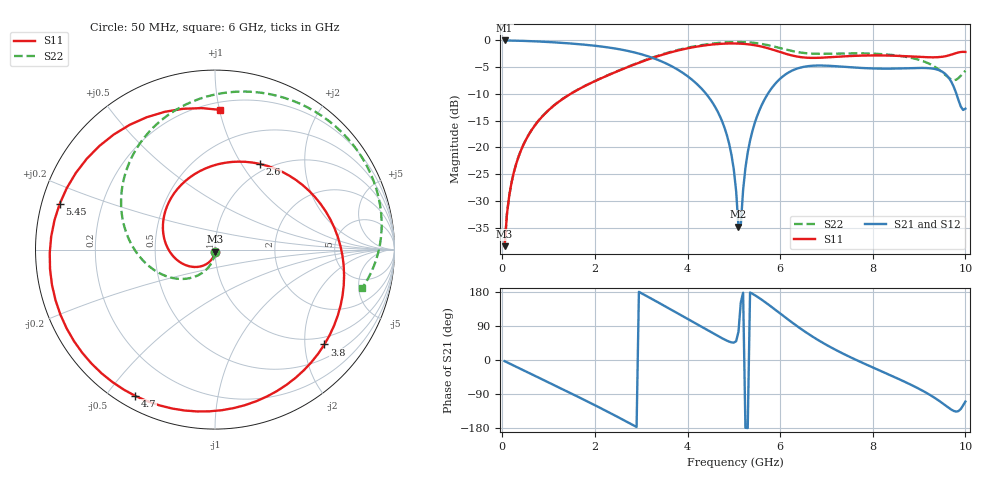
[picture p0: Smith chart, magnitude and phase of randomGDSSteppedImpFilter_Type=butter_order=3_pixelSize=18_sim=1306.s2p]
! freq	dB(S11)	phase(S11)	dB(S12)	phase(S12)
!  dB(S21)	phase(S21)	dB(S22)	phase(S22)
!S-par simulation data
#  GHz  S  DB  R 50
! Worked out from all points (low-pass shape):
!   200 points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, 50 MHz to 10 GHz, reference 50 ohm
!   highest |S21| = -0.01 dB at 50 MHz (marker M1); lowest = -34.8 dB at 5.1 GHz (marker M2)
!   |S21| within 3 dB of the highest: start of sweep to 3.16 GHz
!   lowest |S11| = -38.5 dB at 50 MHz (marker M3), VSWR 1.02, Z = 49.9 - j1.19 ohm
!   |S11| at or under -10 dB: start of sweep to 1.473 GHz
!   |S22| runs from -38.4 to -0.3 dB; largest |S21 - S12| = 0
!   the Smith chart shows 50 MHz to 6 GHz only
!   S11 on the Smith chart (normalised r, x): 50 MHz: 1.00, -0.02; 2.6 GHz: 0.90, +1.21; 3.8 GHz: 0.81, -2.45; 4.7 GHz: 0.05, -0.59; 5.45 GHz: 0.05, +0.14; 6 GHz: 0.25, +1.01
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0.05  -38.45 -93.1  -0.01 -3.0  -0.01 -3.0  -38.45 -91.6
0.2  -26.55 -105.1  -0.03 -11.9  -0.03 -11.9  -26.53 -98.8
0.5  -18.74 -128.0  -0.10 -29.7  -0.10 -29.7  -18.71 -112.5
1.15  -11.92 -177.8  -0.38 -68.2  -0.38 -68.2  -11.90 -140.0
1.75  -8.67 134.2  -0.78 -104.1  -0.78 -104.1  -8.64 -164.0
2.6  -5.36 62.2  -1.77 -157.2  -1.77 -157.2  -5.32 161.7
3.4  -2.83 -6.9  -3.78 149.6  -3.78 149.6  -2.75 124.4
3.8  -1.86 -40.9  -5.52 122.3  -5.52 122.3  -1.77 103.7
4.3  -1.02 -83.3  -8.98 87.8  -8.98 87.8  -0.88 76.4
4.7  -0.65 -118.5  -14.18 60.4  -14.18 60.4  -0.45 54.2
5.05  -0.58 -152.1  -28.23 49.7  -28.23 49.7  -0.30 34.5
5.1  -0.59 -157.2  -34.79 74.6  -34.79 74.6  -0.30 31.7
5.45  -0.90 163.6  -15.48 171.4  -15.48 171.4  -0.47 12.3
6  -2.17 87.8  -7.16 122.8  -7.16 122.8  -1.44 -14.7
6.35  -2.99 34.2  -5.31 90.7  -5.31 90.7  -2.14 -27.3
6.7  -3.26 -14.9  -4.73 61.7  -4.73 61.7  -2.47 -37.9
7.4  -2.97 -87.1  -4.94 14.3  -4.94 14.3  -2.43 -61.2
8.35  -2.83 -152.9  -5.28 -38.6  -5.28 -38.6  -2.66 -101.0
8.9  -3.03 175.2  -5.16 -69.9  -5.16 -69.9  -3.40 -132.8
9.35  -3.15 151.1  -5.35 -100.9  -5.35 -100.9  -4.98 -177.1
9.75  -2.50 128.8  -8.70 -134.5  -8.70 -134.5  -7.44 82.9
10  -2.15 108.0  -12.75 -109.7  -12.75 -109.7  -5.66 -11.3
